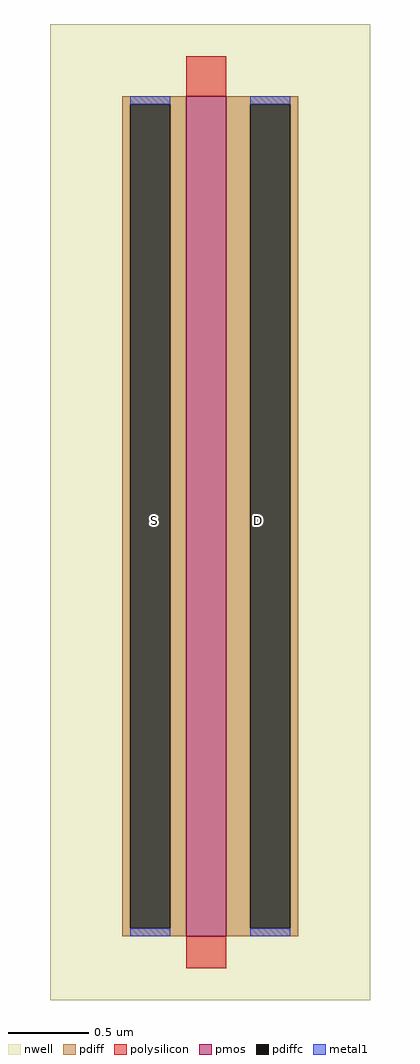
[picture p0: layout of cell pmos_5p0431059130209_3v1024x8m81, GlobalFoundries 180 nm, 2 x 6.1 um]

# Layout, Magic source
magic
tech gf180mcuD
<< nwell >>
rect -17 -8 23 114
<< pmos >>
rect 0 0 5 105
<< pdiff >>
rect -8 104 0 105
rect -8 1 -7 104
rect -2 1 0 104
rect -8 0 0 1
rect 5 104 14 105
rect 5 1 8 104
rect 13 1 14 104
rect 5 0 14 1
<< pdiffc >>
rect -7 1 -2 104
rect 8 1 13 104
<< polysilicon >>
rect 0 105 5 110
rect 0 -4 5 0
<< metal1 >>
rect -7 104 -2 105
rect -7 0 -2 1
rect 8 104 13 105
rect 8 0 13 1
<< labels >>
flabel pdiffc -4 52 -4 52 0 FreeSans 18 0 0 0 S
flabel pdiffc 9 52 9 52 0 FreeSans 18 0 0 0 D
<< end >>
